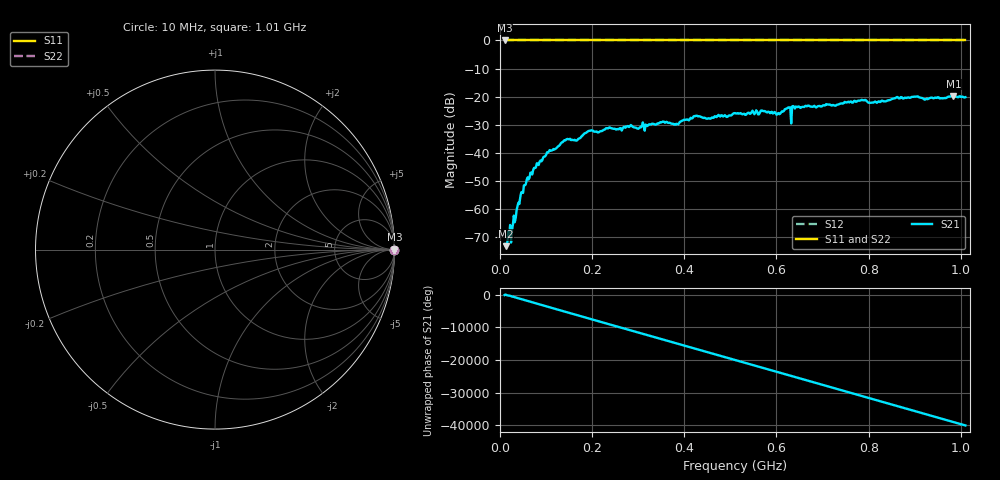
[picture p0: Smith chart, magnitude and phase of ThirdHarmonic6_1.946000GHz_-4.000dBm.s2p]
! 8/16/2025 11:26:04 PM
! C:\ANRITSUVNA\TEMP\TEMP.S2P
! CHANNEL.1
! TR.MEASUREMENT
! RAW.DATA
! RF.CORRECTION.OFF
! AVERAGING.OFF
! IF.BANDWIDTH: 5KHZ
! SWEEPTYPE:  FREQ.SWEEP(Linear)
! Reference Plane Port Info
! PORT:  PORT1  PORT2
! DISTANCE:  0  m  0  m
! TIME:  0  s  0  s
! PHASE.OFFSET:  0  deg.  0  deg.
! LOSS:  0  dB  0  dB
! REF.LOSS:  0  dB  0  dB
! REF.FREQ:  0  Hz  0  Hz
! Power Info
! POWER:  -20  dBm  -20  dBm
! EFF.POWER:  -20  dBm  -20  dBm
! SOURCE.ATTEN:  0  dB  0  dB
! TEST.ATTEN:  0  dB  0  dB
# GHZ S RI R 50.0
! FREQ.GHZ  S11RE  S11IM  S21RE  S21IM  S12RE  S12IM  S22RE  S22IM
!; PortSelection: Port_12
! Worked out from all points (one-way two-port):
!   501 points, 10 MHz to 1.01 GHz, reference 50 ohm
!   highest |S21| = -19.81 dB at 984 MHz (marker M1); lowest = -73.3 dB at 12 MHz (marker M2)
!   lowest |S11| = 0.0 dB at 10 MHz (marker M3)
!   |S11| at or under -10 dB: nowhere
!   |S22| runs from 0.0 to 0.0 dB; largest |S21 - S12| = 1.1
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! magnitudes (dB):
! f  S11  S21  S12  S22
! 10 MHz  0.0  -72.5  0.0  0.0
! 12 MHz  0.0  -73.3  0.0  0.0
! 28 MHz  0.0  -65.6  0.0  0.0
! 42 MHz  0.0  -58.3  0.0  0.0
! 56 MHz  0.0  -51.2  0.0  0.0
! 76 MHz  0.0  -45.5  0.0  0.0
! 104 MHz  0.0  -39.9  0.0  0.0
! 136 MHz  0.0  -36.2  0.0  0.0
! 178 MHz  0.0  -34.0  0.0  0.0
! 196 MHz  0.0  -32.2  0.0  0.0
! 344 MHz  0.0  -29.6  0.0  0.0
! 382 MHz  0.0  -29.7  0.0  0.0
! 424 MHz  0.0  -27.0  0.0  0.0
! 452 MHz  0.0  -27.7  0.0  0.0
! 510 MHz  0.0  -25.9  0.0  0.0
! 604 MHz  0.0  -25.9  0.0  0.0
! 626 MHz  0.0  -23.8  0.0  0.0
! 628 MHz  0.0  -24.0  0.0  0.0
! 678 MHz  0.0  -23.7  0.0  0.0
! 844 MHz  0.0  -21.3  0.0  0.0
! 984 MHz  0.0  -19.8  0.0  0.0
! 1.01 GHz  0.0  -20.2  0.0  0.0
